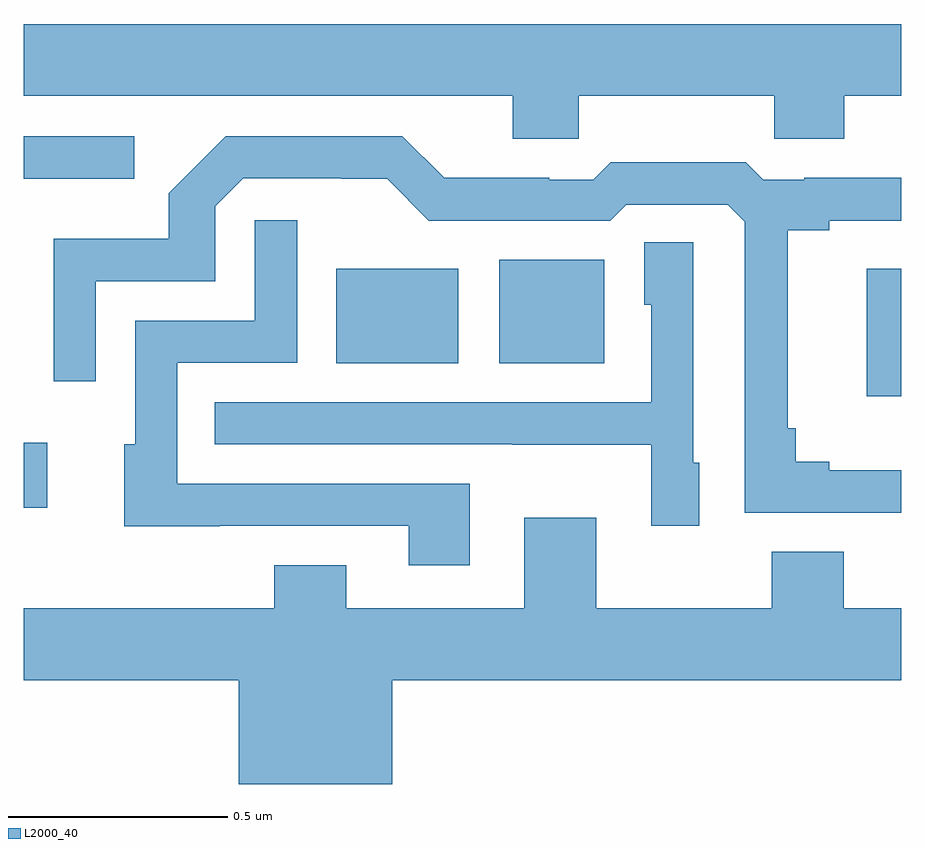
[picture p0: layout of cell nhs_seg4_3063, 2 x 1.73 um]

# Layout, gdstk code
import gdstk
lib = gdstk.Library(unit=1e-6, precision=1e-09)
def R(c, l, rs):  # rectangles x0, y0, x1, y1
    for r in rs: c.add(gdstk.rectangle(r[:2], r[2:], *l))
def P(c, l, *ps):  # polygons
    for p in ps: c.add(gdstk.Polygon(p, *l))
L2000_40 = (2000, 40)

nhs_seg4_3063 = lib.new_cell('nhs_seg4_3063')
R(nhs_seg4_3063, L2000_40, [(148,814.53,148.054,814.678), (149.921,814.784,150,815.074), (148.712,814.859,148.99,815.074), (149.084,814.859,149.323,815.095), (148,815.279,148.252,815.376)])
P(nhs_seg4_3063, L2000_40, [(149.265,815.468),(149.71,815.468),(149.71,815.37),(149.87,815.37),(149.87,815.468),(150,815.468),(150,815.632),(148,815.632),(148,815.468),(149.114,815.468),(149.114,815.37),(149.265,815.37)],
  [(150,814.615),(149.836,814.615),(149.836,814.634),(149.759,814.634),(149.759,814.711),(149.741,814.711),(149.741,815.162),(149.836,815.162),(149.836,815.184),(150,815.184),(150,815.282),(149.779,815.282),(149.779,815.277),(149.685,815.277),(149.645,815.317),(149.338,815.317),(149.298,815.277),(149.198,815.277),(149.198,815.282),(148.958,815.282),(148.863,815.376),(148.46,815.376),(148.33,815.246),(148.33,815.143),(148.068,815.143),(148.068,814.818),(148.164,814.818),(148.164,815.046),(148.437,815.046),(148.437,815.217),(148.5,815.28),(148.724,815.28),(148.724,815.279),(148.829,815.279),(148.923,815.184),(149.337,815.184),(149.373,815.22),(149.604,815.22),(149.643,815.181),(149.643,814.518),(150,814.518)],
  [(149.017,814.584),(148.35,814.584),(148.35,814.86),(148.623,814.86),(148.623,815.185),(148.527,815.185),(148.527,814.956),(148.254,814.956),(148.254,814.674),(148.229,814.674),(148.229,814.487),(148.447,814.487),(148.447,814.488),(148.877,814.488),(148.877,814.398),(149.017,814.398)],
  [(149.539,814.632),(149.526,814.632),(149.526,815.135),(149.414,815.135),(149.414,814.992),(149.43,814.992),(149.43,814.77),(148.435,814.77),(148.435,814.674),(149.113,814.674),(149.113,814.673),(149.43,814.673),(149.43,814.488),(149.539,814.488)],
  [(148.735,814.399),(148.571,814.399),(148.571,814.3),(148,814.3),(148,814.136),(148.49,814.136),(148.49,813.9),(148.84,813.9),(148.84,814.136),(150,814.136),(150,814.3),(149.869,814.3),(149.869,814.429),(149.705,814.429),(149.705,814.3),(149.305,814.3),(149.305,814.507),(149.141,814.507),(149.141,814.3),(148.735,814.3)])

lib.write_gds('nhs_seg4_3063.gds')
